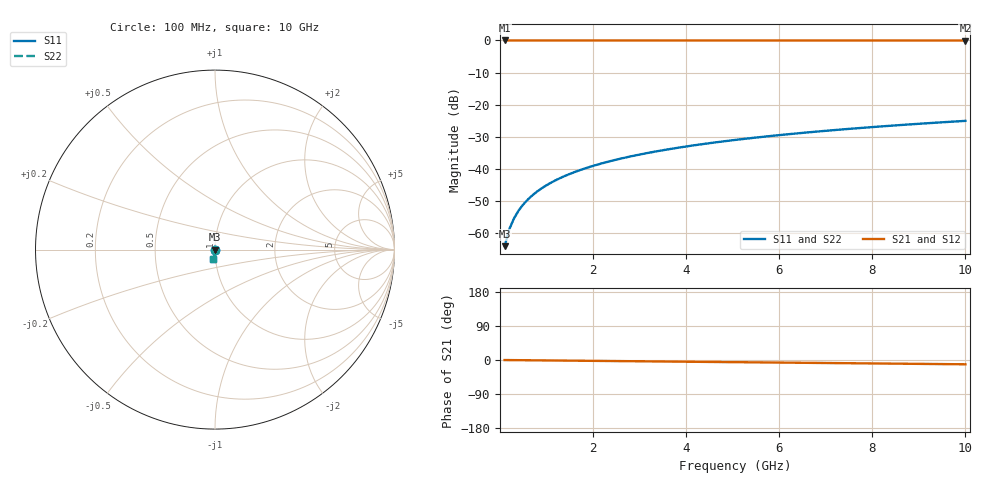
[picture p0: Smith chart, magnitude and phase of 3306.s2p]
# Hz S RI R 50.00
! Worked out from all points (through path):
!   100 points, 100 MHz to 10 GHz, reference 50 ohm
!   highest |S21| = 0.00 dB at 100 MHz (marker M1); lowest = 0.0 dB at 10 GHz (marker M2)
!   group delay of S21, straight-line fit = 3.15 ps
!   lowest |S11| = -64.0 dB at 100 MHz (marker M3), VSWR 1.00, Z = 50 - j0.056 ohm
!   |S11| at or under -10 dB: start of sweep to end of sweep
!   |S22| runs from -64.0 to -25.0 dB; largest |S21 - S12| = 0
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1e8  0.000296 -0.00056  0.9997 -0.00196  0.9997 -0.00196  0.000296 -0.00056
2e8  0.000293 -0.00112  0.9997 -0.00393  0.9997 -0.00393  0.000293 -0.00112
3e8  0.000288 -0.00168  0.9997 -0.00589  0.9997 -0.00589  0.000288 -0.00168
4e8  0.000281 -0.00224  0.9997 -0.00785  0.9997 -0.00785  0.000281 -0.00224
5e8  0.000271 -0.0028  0.9996 -0.00982  0.9996 -0.00982  0.000271 -0.0028
6e8  0.000258 -0.00336  0.9996 -0.0118  0.9996 -0.0118  0.000258 -0.00336
7e8  0.000244 -0.00392  0.9996 -0.0137  0.9996 -0.0137  0.000244 -0.00392
8e8  0.000227 -0.00448  0.9995 -0.0157  0.9995 -0.0157  0.000227 -0.00448
9e8  0.000207 -0.00504  0.9995 -0.0177  0.9995 -0.0177  0.000207 -0.00504
1.1e9  0.000162 -0.00616  0.9994 -0.0216  0.9994 -0.0216  0.000162 -0.00616
1.4e9  7.79e-05 -0.00784  0.9993 -0.0275  0.9993 -0.0275  7.79e-05 -0.00784
1.8e9  -6.58e-05 -0.0101  0.999 -0.0354  0.999 -0.0354  -6.58e-05 -0.0101
2.1e9  -0.000197 -0.0118  0.9987 -0.0413  0.9987 -0.0413  -0.000197 -0.0118
2.5e9  -0.000403 -0.014  0.9983 -0.0491  0.9983 -0.0491  -0.000403 -0.014
2.9e9  -0.000645 -0.0163  0.9979 -0.057  0.9979 -0.057  -0.000645 -0.0163
3.4e9  -0.000997 -0.0191  0.9972 -0.0668  0.9972 -0.0668  -0.000997 -0.0191
4.2e9  -0.00168 -0.0235  0.9959 -0.0826  0.9959 -0.0826  -0.00168 -0.0235
5.1e9  -0.00261 -0.0285  0.9942 -0.1003  0.9942 -0.1003  -0.00261 -0.0285
5.9e9  -0.00359 -0.033  0.9923 -0.116  0.9923 -0.116  -0.00359 -0.033
6.7e9  -0.00472 -0.0374  0.9901 -0.1318  0.9901 -0.1318  -0.00472 -0.0374
8.4e9  -0.00758 -0.0466  0.9847 -0.1651  0.9847 -0.1651  -0.00758 -0.0466
1e10  -0.0108 -0.0551  0.9784 -0.1964  0.9784 -0.1964  -0.0108 -0.0551
